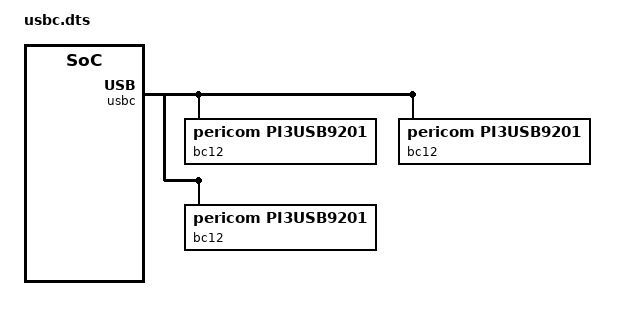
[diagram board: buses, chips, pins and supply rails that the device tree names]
/* Copyright 2021 The Chromium OS Authors. All rights reserved.
 * Use of this source code is governed by a BSD-style license that can be
 * found in the LICENSE file.
 */

/ {
	usbc {
		port0: usbc-port0 {
			bc12 {
				compatible = "pericom,pi3usb9201";
				status = "okay";
				irq = <&gpio_usb_c0_bc12_int_odl>;
				port = <&c0_c2_bc12>;
				i2c-addr-flags = "PI3USB9201_I2C_ADDR_3_FLAGS";
			};
		};

		port1: usbc-port1 {
			bc12 {
				compatible = "pericom,pi3usb9201";
				status = "okay";
				irq = <&gpio_usb_c1_bc12_int_odl>;
				port = <&c1_bc12>;
				i2c-addr-flags = "PI3USB9201_I2C_ADDR_3_FLAGS";
			};
		};

		port2: usbc-port2 {
			bc12 {
				compatible = "pericom,pi3usb9201";
				status = "okay";
				irq = <&gpio_usb_c2_bc12_int_odl>;
				port = <&c0_c2_bc12>;
				i2c-addr-flags = "PI3USB9201_I2C_ADDR_1_FLAGS";
			};
		};
	};
};
